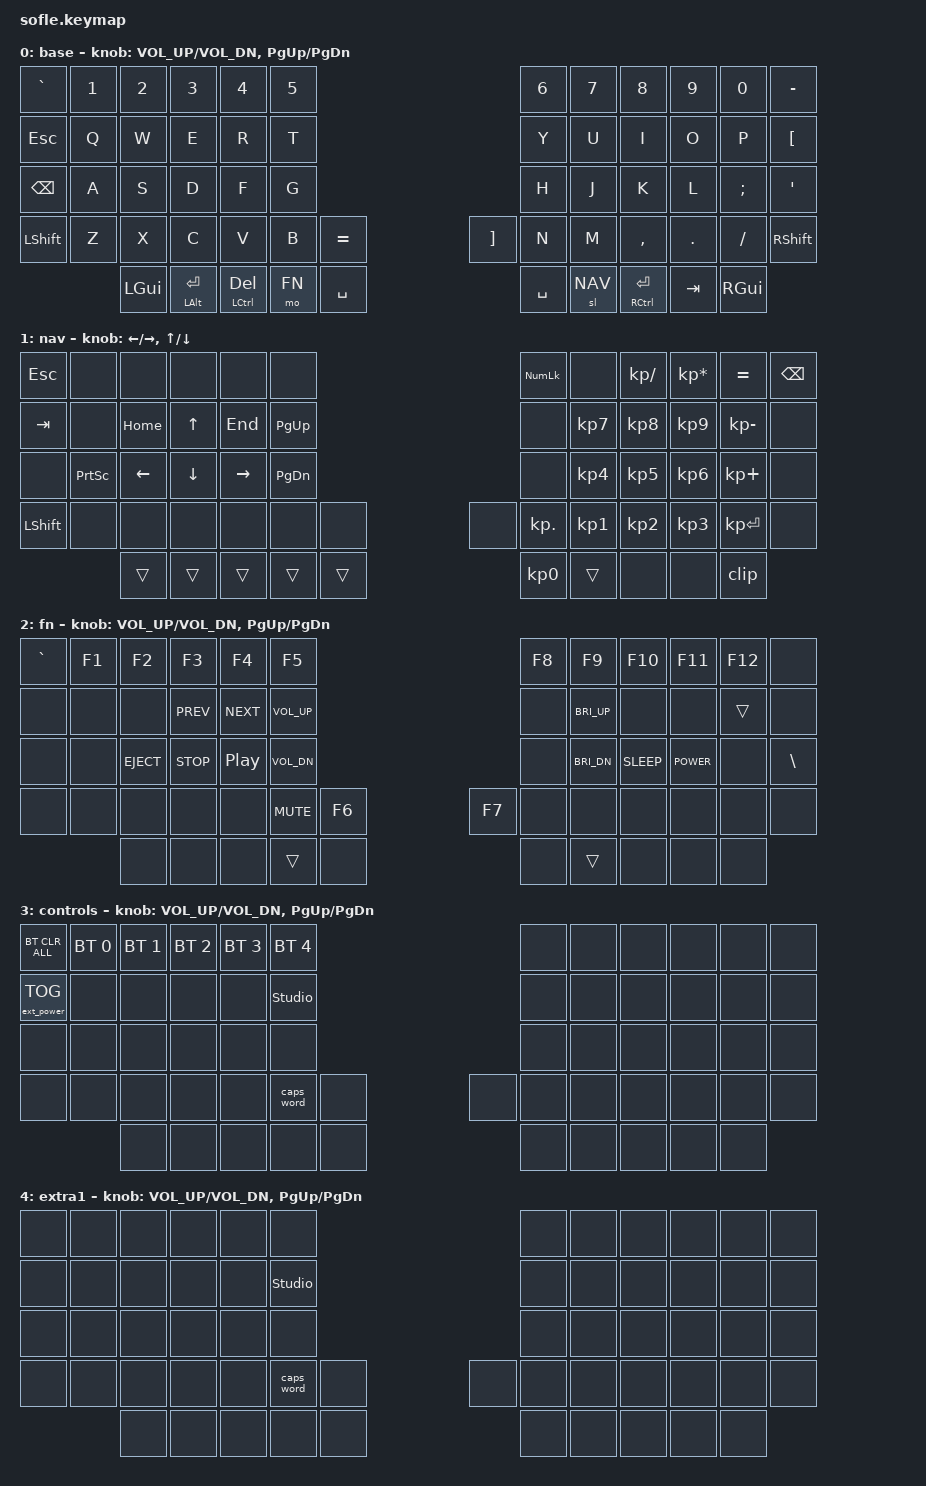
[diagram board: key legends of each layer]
/*
 * Copyright (c) 2020 The ZMK Contributors
 *
 * SPDX-License-Identifier: MIT
 *
 * Sofle Choc keymap modelled on a Dygma Defy (Bazecor) config.
 *
 *   Defy L1 -> BASE, Defy L2 -> NAV, Defy L3 -> FN.
 *   CONTROLS (Bluetooth, ext power, ZMK Studio unlock) is reached as on the stock
 *   Sofle: have FN and NAV active together (hold Fn on the left thumb, tap Nav on
 *   the right thumb).
 *
 * The Defy has an extra inner column and 8 thumb keys per side; the Sofle doesn't.
 * Where a Defy key had no home it was moved; see the comments on each layer.
 */

#include <behaviors.dtsi>
#include <dt-bindings/zmk/bt.h>
#include <dt-bindings/zmk/ext_power.h>
#include <dt-bindings/zmk/keys.h>
#include <dt-bindings/zmk/pointing.h>

#define BASE 0
#define NAV 1
#define FN 2
#define CONTROLS 3
#define EXTRA 4

// Defy qukeys hold timeout was 250 ms. "balanced" avoids Ctrl/Alt firing when
// rolling quickly off Enter/Delete into the next key.
&mt {
    flavor = "balanced";
    tapping-term-ms = <250>;
    quick-tap-ms = <175>;
};

/ {
    conditional_layers {
        compatible = "zmk,conditional-layers";

        controls_layer {
            if-layers = <NAV FN>;
            then-layer = <CONTROLS>;
        };
    };

    // Stock Sofle combos, kept unchanged.
    combos {
        compatible = "zmk,combos";

        backspace {
            bindings = <&kp BACKSPACE>;
            key-positions = <32 31>;
        };

        delete {
            bindings = <&kp DELETE>;
            key-positions = <27 33>;
        };

        esc {
            bindings = <&kp ESCAPE>;
            key-positions = <25 41>;
        };
    };

    behaviors {
        caps: caps {
            compatible = "zmk,behavior-caps-word";
            label = "CAPS";
            #binding-cells = <0>;
            continue-list = <POUND MINUS BACKSPACE UNDERSCORE>;
        };

        clip_ht: clip_hold_tap {
            compatible = "zmk,behavior-hold-tap";
            #binding-cells = <2>;
            flavor = "tap-preferred";
            tapping-term-ms = <250>;
            bindings = <&kp>, <&kp>;
        };

        // Defy Superkey 0, adapted for macOS: tap = Cmd+C, hold = Cmd+V,
        // tap-then-hold = Cmd+Shift+V, double-tap = Cmd+X.
        clip: clipboard_superkey {
            compatible = "zmk,behavior-tap-dance";
            #binding-cells = <0>;
            tapping-term-ms = <250>;
            bindings = <&clip_ht LG(V) LG(C)>, <&clip_ht LG(LS(V)) LG(X)>;
        };
    };

    keymap {
        compatible = "zmk,keymap";

        base_layer {
            display-name = "base";

            // ---------------------------------------------------------------------------------------------------
            // |  `    |  1  |  2  |  3  |  4  |  5  |                      |  6  |  7  |  8  |  9  |  0  |  -    |
            // |  ESC  |  Q  |  W  |  E  |  R  |  T  |                      |  Y  |  U  |  I  |  O  |  P  |  [    |
            // |  BSPC |  A  |  S  |  D  |  F  |  G  |                      |  H  |  J  |  K  |  L  |  ;  |  '    |
            // |  SHFT |  Z  |  X  |  C  |  V  |  B  |  =   |      |   ]    |  N  |  M  |  ,  |  .  |  /  |  SHFT |
            //         | GUI | ALT/ENT | CTL/DEL | FN | SPC |      | SPC | NAV(1-shot) | CTL/ENT | TAB | GUI |
            //
            // Defy inner-column keys "=" and "]" moved to the two inner bottom keys.
            // Defy "\" (right inner, home row) moved to FN + ' (see FN layer).
            // Defy thumbs dropped: left Tab, right RAlt, clipboard superkey (now on NAV),
            // LED-next, and the two Defy wireless keys.

            bindings = <
&kp GRAVE   &kp N1  &kp N2  &kp N3  &kp N4  &kp N5                                         &kp N6  &kp N7     &kp N8     &kp N9   &kp N0    &kp MINUS
&kp ESC     &kp Q   &kp W   &kp E   &kp R   &kp T                                          &kp Y   &kp U      &kp I      &kp O    &kp P     &kp LBKT
&kp BSPC    &kp A   &kp S   &kp D   &kp F   &kp G                                          &kp H   &kp J      &kp K      &kp L    &kp SEMI  &kp SQT
&kp LSHFT   &kp Z   &kp X   &kp C   &kp V   &kp B   &kp EQUAL                   &kp RBKT   &kp N   &kp M      &kp COMMA  &kp DOT  &kp FSLH  &kp RSHFT
                    &kp LGUI  &mt LALT ENTER  &mt LCTRL DEL  &mo FN  &kp SPACE   &kp SPACE  &sl NAV  &mt RCTRL ENTER  &kp TAB  &kp RGUI
            >;

            sensor-bindings = <&inc_dec_kp C_VOL_UP C_VOL_DN &inc_dec_kp PG_UP PG_DN>;
        };

        nav_layer {
            display-name = "nav";

            // Defy L2, one-shot from the right thumb.
            // ---------------------------------------------------------------------------------------------------
            // |  ESC  |      |      |      |       |      |                   | NUMLK |     |  /  |  *  |  =  | BSPC |
            // |  TAB  |      | HOME |  UP  |  END  | PGUP |                   |       |  7  |  8  |  9  |  -  |      |
            // |       | PSCR | LEFT | DOWN | RIGHT | PGDN |                   |       |  4  |  5  |  6  |  +  |      |
            // |  SHFT |      |      |      |       |      |     |      |      |   .   |  1  |  2  |  3  | ENT |      |
            //         |  ▽   |  ▽   |  ▽   |  ▽    |  ▽   |      |  0   |  ▽  |     |     | CLIP |
            //
            // Left thumbs stay transparent so GUI/Alt/Ctrl work with arrows (as on the Defy).
            // CLIP = Defy clipboard superkey (moved here, no room on the base thumbs).

            bindings = <
&kp ESC    &none      &none     &none     &none      &none                         &kp KP_NUMLOCK &none     &kp KP_SLASH  &kp KP_MULTIPLY  &kp EQUAL     &kp BSPC
&kp TAB    &none      &kp HOME  &kp UP    &kp END    &kp PG_UP                     &none        &kp KP_N7 &kp KP_N8     &kp KP_N9        &kp KP_MINUS  &none
&none      &kp PSCRN  &kp LEFT  &kp DOWN  &kp RIGHT  &kp PG_DN                     &none        &kp KP_N4 &kp KP_N5     &kp KP_N6        &kp KP_PLUS   &none
&kp LSHFT  &none      &none     &none     &none      &none      &none   &none      &kp KP_DOT   &kp KP_N1 &kp KP_N2     &kp KP_N3        &kp KP_ENTER  &none
                      &trans    &trans    &trans     &trans     &trans  &kp KP_N0  &trans       &none     &none         &clip
            >;

            sensor-bindings =
                <&inc_dec_kp LEFT_ARROW RIGHT_ARROW>,
                <&inc_dec_kp UP_ARROW DOWN_ARROW>;
        };

        fn_layer {
            display-name = "fn";

            // Defy L3, held on the left thumb.
            // ---------------------------------------------------------------------------------------------------
            // |   `   |  F1  |  F2  |  F3  |  F4  |  F5  |                    |  F8  |  F9  | F10  | F11  | F12 |     |
            // |       |      |      | PREV | NEXT | VOL+ |                    |      | BRI+ |      |      |  ▽  |     |
            // |       |      | EJCT | STOP | PLAY | VOL- |                    |      | BRI- | SLEEP| POWER|     |  \  |
            // |       |      |      |      |      | MUTE |  F6  |     |  F7   |      |      |      |      |     |     |
            //         |      |      |      |  ▽   |      |      |     |      |  ▽   |      |      |      |
            //
            // F8-F12 keep their Defy positions; Defy inner-column F6/F7 moved to the inner bottom keys.
            // NAV thumb is transparent so Fn + Nav reaches the CONTROLS layer.

            bindings = <
&kp GRAVE  &kp F1  &kp F2       &kp F3      &kp F4      &kp F5                               &kp F8  &kp F9        &kp F10      &kp F11      &kp F12  &none
&none      &none   &none        &kp C_PREV  &kp C_NEXT  &kp C_VOL_UP                         &none   &kp C_BRI_UP  &none        &none        &trans   &none
&none      &none   &kp C_EJECT  &kp C_STOP  &kp C_PP    &kp C_VOL_DN                         &none   &kp C_BRI_DN  &kp C_SLEEP  &kp C_POWER  &none    &kp BSLH
&none      &none   &none        &none       &none       &kp C_MUTE    &kp F6       &kp F7    &none   &none         &none        &none        &none    &none
                   &none        &none       &none       &trans        &none        &none     &trans  &none         &none        &none
            >;

            sensor-bindings = <&inc_dec_kp C_VOL_UP C_VOL_DN &inc_dec_kp PG_UP PG_DN>;
        };

        controls_layer {
            display-name = "controls";

            // Stock Sofle "adjust" layer, unchanged: Bluetooth, external power, ZMK Studio unlock, caps word.
            // ----------------------------------------------------------------------------------------------------------
            // | BTCLR  | BT1 | BT2 | BT3 | BT4 | BT5           |                  |  |  |  |  |  |  |
            // | EXTPWR |     |     |     |     | STUDIO UNLOCK |                  |  |  |  |  |  |  |
            // |        |     |     |     |     |               |                  |  |  |  |  |  |  |
            // |        |     |     |     |     | CAPS WORD     |       |  |       |  |  |  |  |  |  |

            bindings = <
&bt BT_CLR_ALL     &bt BT_SEL 0  &bt BT_SEL 1  &bt BT_SEL 2  &bt BT_SEL 3  &bt BT_SEL 4                         &none  &none  &none  &none  &none  &none
&ext_power EP_TOG  &none         &none         &none         &none         &studio_unlock                       &none  &none  &none  &none  &none  &none
&none              &none         &none         &none         &none         &none                                &none  &none  &none  &none  &none  &none
&none              &none         &none         &none         &none         &caps_word      &none         &none  &none  &none  &none  &none  &none  &none
                                 &none         &none         &none         &none           &none         &none  &none  &none  &none  &none
            >;

            sensor-bindings = <&inc_dec_kp C_VOL_UP C_VOL_DN &inc_dec_kp PG_UP PG_DN>;
        };

        extra_layer {
            display-name = "extra1";

            // Stock spare layer, unchanged (handy for live edits in ZMK Studio).
            bindings = <
&none  &none  &none  &none  &none  &none                                  &none  &none  &none  &none  &none  &none
&none  &none  &none  &none  &none  &studio_unlock                         &none  &none  &none  &none  &none  &none
&none  &none  &none  &none  &none  &none                                  &none  &none  &none  &none  &none  &none
&none  &none  &none  &none  &none  &caps_word      &none  &none           &none  &none  &none  &none  &none  &none
              &none  &none  &none  &none           &none  &none           &none  &none  &none  &none
            >;

            sensor-bindings = <&inc_dec_kp C_VOL_UP C_VOL_DN &inc_dec_kp PG_UP PG_DN>;
        };
    };
};
